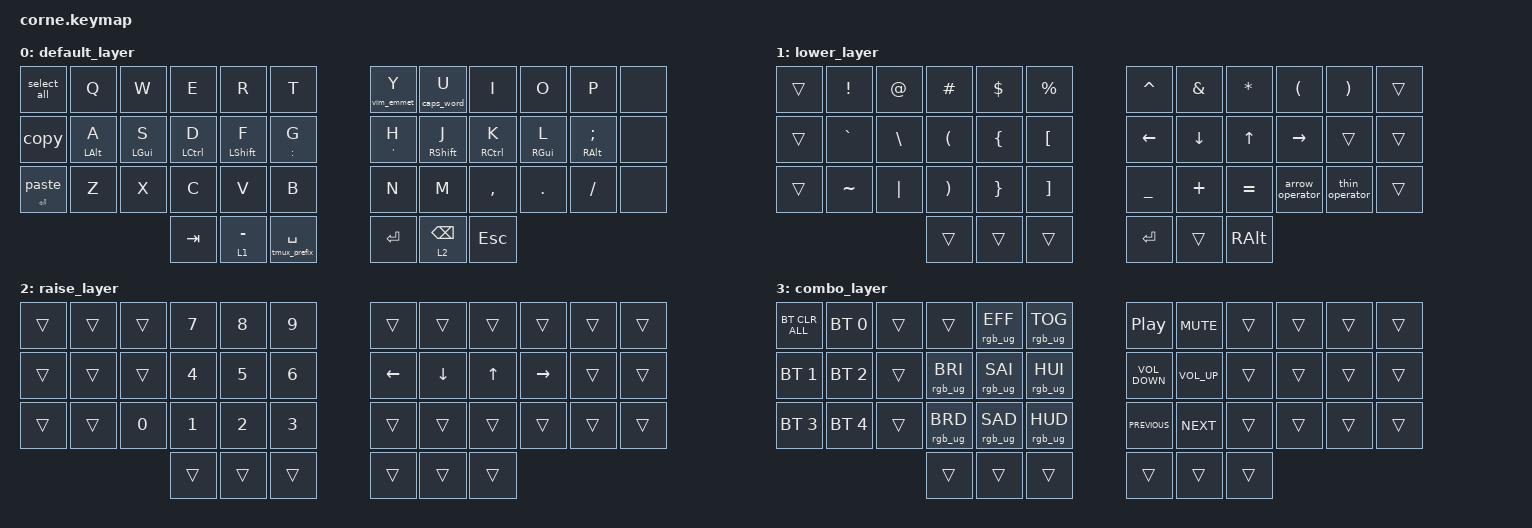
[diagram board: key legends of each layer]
/*
 * Copyright (c) 2020 The ZMK Contributors
 *
 * SPDX-License-Identifier: MIT
 */

#include <behaviors.dtsi>
#include <dt-bindings/zmk/bt.h>
#include <dt-bindings/zmk/keys.h>
#include <dt-bindings/zmk/rgb.h>

&led_strip { chain-length = <27>; };

&mt { flavor = "tap-preferred"; };

/ {
    macros {
        select_all: select_all {
            compatible = "zmk,behavior-macro";
            #binding-cells = <0>;
            bindings = <&kp LG(A)>;
            label = "SELECT_ALL";
        };

        copy: copy {
            compatible = "zmk,behavior-macro";
            #binding-cells = <0>;
            bindings = <&kp LG(C)>;
            label = "COPY";
        };

        paste: paste {
            compatible = "zmk,behavior-macro";
            #binding-cells = <0>;
            bindings = <&kp LG(V)>;
            label = "PASTE";
        };

        tmux_prefix: tmux_prefix {
            compatible = "zmk,behavior-macro";
            #binding-cells = <0>;
            bindings = <&kp LC(B)>;
            label = "TMUX_PREFIX";
        };

        arrow_operator: arrow {
            compatible = "zmk,behavior-macro";
            #binding-cells = <0>;
            bindings = <&kp EQUAL &kp GREATER_THAN>;
            label = "ARROW";
        };

        thin_operator: thin_operator {
            compatible = "zmk,behavior-macro";
            #binding-cells = <0>;
            bindings = <&kp MINUS &kp GREATER_THAN>;
            label = "THIN_OPERATOR";
        };

        vim_emmet: vim_emmet {
            compatible = "zmk,behavior-macro";
            #binding-cells = <0>;
            bindings = <&kp LC(Y) &kp COMMA>;
            label = "VIM_EMMET";
        };
    };

    behaviors {
        mod_capsword: mod_capsword {
            compatible = "zmk,behavior-hold-tap";
            label = "MOD_CAPSWORD";
            bindings = <&caps_word>, <&kp>;

            #binding-cells = <2>;
            hold-trigger-key-positions = <7>;
            tapping-term-ms = <200>;
        };

        tmux_space: tmux_space {
            compatible = "zmk,behavior-hold-tap";
            label = "TMUX_SPACE";
            bindings = <&tmux_prefix>, <&kp>;

            #binding-cells = <2>;
            tapping-term-ms = <200>;
            hold-trigger-key-positions = <38>;
        };

        mod_vim_emmet: mod_vim_emmet {
            compatible = "zmk,behavior-hold-tap";
            label = "MOD_VIM_EMMET";
            bindings = <&vim_emmet>, <&kp>;

            #binding-cells = <2>;
            flavor = "tap-preferred";
            hold-trigger-key-positions = <6>;
            tapping-term-ms = <200>;
        };

        mod_enter: mod_enter {
            compatible = "zmk,behavior-hold-tap";
            label = "MOD_ENTER";
            bindings = <&kp>, <&paste>;

            #binding-cells = <2>;
            tapping-term-ms = <200>;
            flavor = "tap-preferred";
            hold-trigger-key-positions = <24>;
        };
    };

    keymap {
        compatible = "zmk,keymap";

        default_layer {
            // -----------------------------------------------------------------------------------------
            // |  TAB |  Q  |  W  |  E  |  R  |  T  |   |  Y  |  U   |  I  |  O  |  P  | BKSP |
            // | CTRL |  A  |  S  |  D  |  F  |  G  |   |  H  |  J   |  K  |  L  |  ;  |  '   |
            // | SHFT |  Z  |  X  |  C  |  V  |  B  |   |  N  |  M   |  ,  |  .  |  /  | SHFT |
            //                    | GUI | LWR | ENT |   | SPC | RSE  | ALT |

            bindings = <
&select_all         &kp Q           &kp W           &kp E               &kp R             &kp T                  &mod_vim_emmet 0 Y  &mod_capsword 0 U  &kp I                &kp O            &kp P               &none
&copy               &mt LEFT_ALT A  &mt LEFT_GUI S  &mt LEFT_CONTROL D  &mt LEFT_SHIFT F  &mt COLON G            &mt SQT H           &mt RIGHT_SHIFT J  &mt RIGHT_CONTROL K  &mt RIGHT_GUI L  &mt RIGHT_ALT SEMI  &none
&mod_enter ENTER 0  &kp Z           &kp X           &kp C               &kp V             &kp B                  &kp N               &kp M              &kp COMMA            &kp DOT          &kp FSLH            &none
                                                    &kp TAB             &lt 1 MINUS       &tmux_space 0 SPACE    &kp RETURN          &lt 2 BACKSPACE    &kp ESCAPE
            >;
        };

        lower_layer {
            // -----------------------------------------------------------------------------------------
            // |  TAB |  1    |  2  |  3  |  4  |  5  |   |  6  |  7  |  8  |  9  |  0  | BKSP |
            // | LCTRL| BTCLR | BT0 | BT1 | BT2 | BT3 |   | LFT | DWN |  UP | RGT |     |      |
            // | ESC  |       | HOME| PGUP| PGDN| END |   |     |     |     |     |     |      |
            //                      | GUI |     | SPC |   | ENT |     | ALT |

            bindings = <
&trans  &kp EXCLAMATION  &kp AT_SIGN    &kp HASH               &kp DOLLAR       &kp PERCENT          &kp CARET       &kp AMPERSAND  &kp ASTERISK  &kp LEFT_PARENTHESIS  &kp RIGHT_PARENTHESIS  &trans
&trans  &kp GRAVE        &kp BACKSLASH  &kp LEFT_PARENTHESIS   &kp LEFT_BRACE   &kp LEFT_BRACKET     &kp LEFT        &kp DOWN       &kp UP_ARROW  &kp RIGHT             &trans                 &trans
&trans  &kp TILDE        &kp PIPE       &kp RIGHT_PARENTHESIS  &kp RIGHT_BRACE  &kp RIGHT_BRACKET    &kp UNDERSCORE  &kp PLUS       &kp EQUAL     &arrow_operator       &thin_operator         &trans
                                        &trans                 &trans           &trans               &kp RET         &trans         &kp RALT
            >;
        };

        raise_layer {
            // -----------------------------------------------------------------------------------------
            // |  TAB |   !   |   @   |   #   |   $   |   %   |   |  ^  |  &  |  *  |  (  |  )  | BKSP |
            // | CTRL |RGB_TOG|RGB_HUI|RGB_SAI|RGB_VAI|       |   |  -  |  =  |  [  |  ]  |  \  |  `   |
            // | SHFT |RGB_MOD|RGB_HUD|RGB_SAD|RGB_VAD|QK_BOOT|   |  _  |  +  |  {  |  }  | "|" |  ~   |
            //                            | GUI |     |  SPC  |   | ENT |     | ALT |

            bindings = <
&trans  &trans  &trans        &kp NUMBER_7  &kp NUMBER_8  &kp NUMBER_9    &trans    &trans    &trans  &trans     &trans  &trans
&trans  &trans  &trans        &kp NUMBER_4  &kp NUMBER_5  &kp NUMBER_6    &kp LEFT  &kp DOWN  &kp UP  &kp RIGHT  &trans  &trans
&trans  &trans  &kp NUMBER_0  &kp NUMBER_1  &kp NUMBER_2  &kp NUMBER_3    &trans    &trans    &trans  &trans     &trans  &trans
                              &trans        &trans        &trans          &trans    &trans    &trans
            >;
        };

        combo_layer {
            bindings = <
&bt BT_CLR_ALL  &bt BT_SEL 0  &trans  &trans           &rgb_ug RGB_EFF  &rgb_ug RGB_TOG    &kp C_PLAY_PAUSE   &kp C_MUTE       &trans  &trans  &trans  &trans
&bt BT_SEL 1    &bt BT_SEL 2  &trans  &rgb_ug RGB_BRI  &rgb_ug RGB_SAI  &rgb_ug RGB_HUI    &kp C_VOLUME_DOWN  &kp C_VOLUME_UP  &trans  &trans  &trans  &trans
&bt BT_SEL 3    &bt BT_SEL 4  &trans  &rgb_ug RGB_BRD  &rgb_ug RGB_SAD  &rgb_ug RGB_HUD    &kp C_PREVIOUS     &kp C_NEXT       &trans  &trans  &trans  &trans
                                      &trans           &trans           &trans             &trans             &trans           &trans
            >;
        };
    };

    conditional_layers {
        compatible = "zmk,conditional-layers";

        combo {
            if-layers = <1 2>;
            then-layer = <3>;
        };
    };
};
